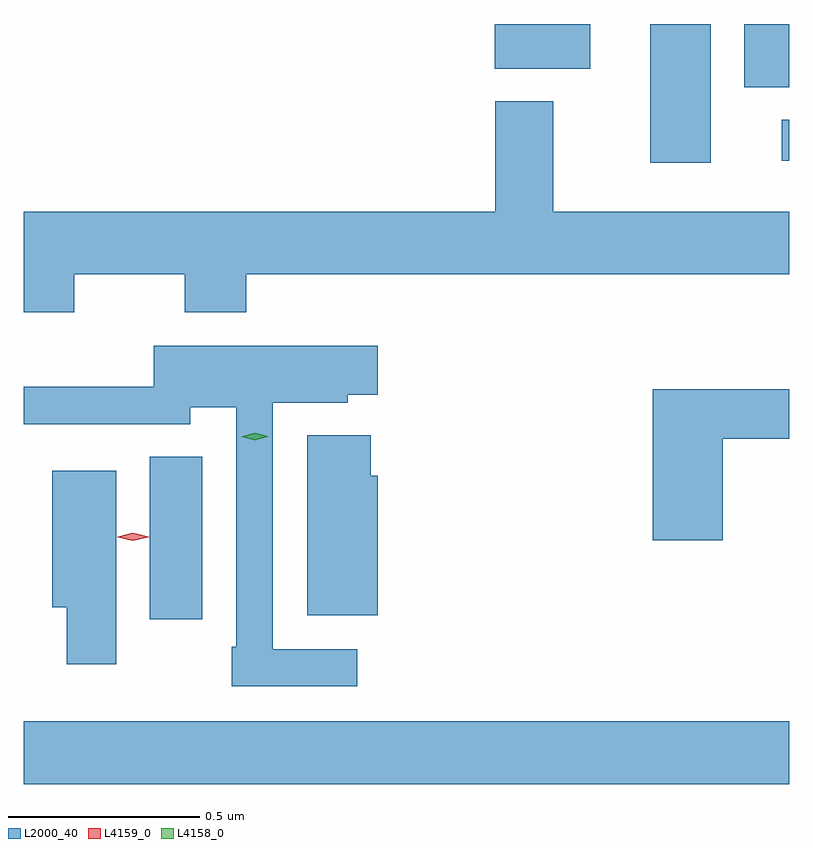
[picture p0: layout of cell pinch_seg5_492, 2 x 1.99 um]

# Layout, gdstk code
import gdstk
lib = gdstk.Library(unit=1e-6, precision=1e-09)
def R(c, l, rs):  # rectangles x0, y0, x1, y1
    for r in rs: c.add(gdstk.rectangle(r[:2], r[2:], *l))
def P(c, l, *ps):  # polygons
    for p in ps: c.add(gdstk.Polygon(p, *l))
L2000_40 = (2000, 40)
L4158_0 = (4158, 0)
L4159_0 = (4159, 0)

pinch_seg5_492 = lib.new_cell('pinch_seg5_492')
R(pinch_seg5_492, L2000_40, [(890.073,842.108,892.073,842.272), (890.402,842.538,890.539,842.963), (891.71,843.732,891.868,844.094), (892.053,843.737,892.073,843.844), (891.956,843.929,892.073,844.094), (891.303,843.977,891.553,844.094)])
P(pinch_seg5_492, L2000_40, [(890.205,843.44),(890.494,843.44),(890.494,843.341),(890.654,843.341),(890.654,843.44),(892.073,843.44),(892.073,843.604),(891.457,843.604),(891.457,843.892),(891.305,843.892),(891.305,843.604),(890.073,843.604),(890.073,843.341),(890.205,843.341)],
  [(890.944,842.46),(890.724,842.46),(890.724,843.104),(890.919,843.104),(890.919,843.125),(890.998,843.125),(890.998,843.253),(890.412,843.253),(890.412,843.146),(890.073,843.146),(890.073,843.048),(890.508,843.048),(890.508,843.092),(890.628,843.092),(890.628,842.467),(890.616,842.467),(890.616,842.364),(890.944,842.364)],
  [(891.899,843.01),(892.073,843.01),(892.073,843.139),(891.716,843.139),(891.716,842.745),(891.899,842.745)],
  [(890.998,842.913),(890.98,842.913),(890.98,843.019),(890.813,843.019),(890.813,842.549),(890.998,842.549)],
  [(890.314,842.926),(890.147,842.926),(890.147,842.57),(890.185,842.57),(890.185,842.421),(890.314,842.421)])
P(pinch_seg5_492, L4158_0, [(890.676,843.006),(890.641,843.015),(890.641,843.015),(890.641,843.015),(890.676,843.026),(890.711,843.017),(890.711,843.016),(890.711,843.016)])
P(pinch_seg5_492, L4159_0, [(890.358,842.744),(890.318,842.753),(890.317,842.754),(890.318,842.754),(890.358,842.764),(890.399,842.754),(890.399,842.754),(890.399,842.753)])

lib.write_gds('pinch_seg5_492.gds')
